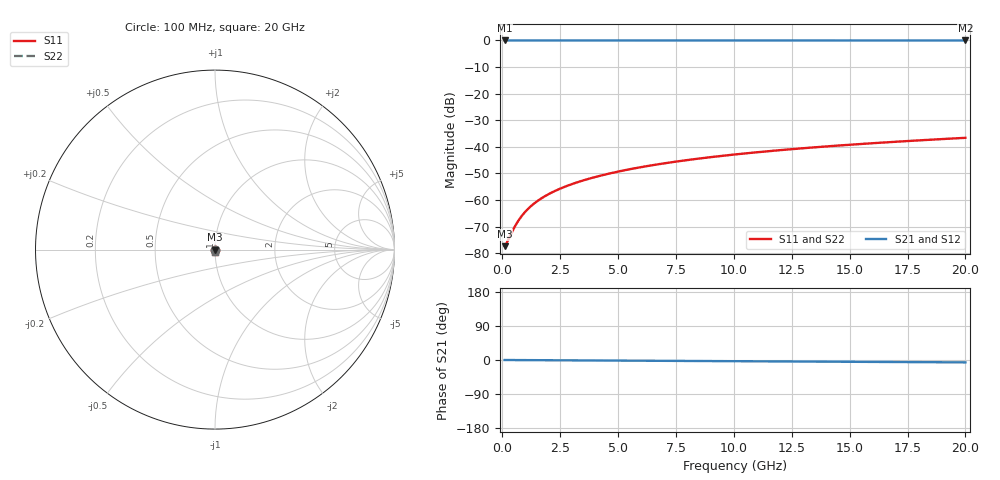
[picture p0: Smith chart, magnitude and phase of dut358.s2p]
! Touchstone file exported from HFSS 2026.1.0
!  File:  C:/ffzhzh/LocalFiles/Ansys_Project_Files/temp_train_TSV_358_1783019257_46388.aedt
!  Generated:  03:09:11 AM Jul  3, 2026
!  Design:  TSV
!  Project:  temp_train_TSV_358_1783019257_46388
! Variables:
!  h_bsmrdl = 2um
!  h_ox = 20um
!  h_rdl = 5um
!  h_sub = 63.3um
!  h_tmrdl = 5um
!  h_tsv = 63.3um
!  h_via = 3um
!  l_bsmrdl = 300um
!  l_sub = 417.84um
!  l_tmrdl = 200um
!  m_sub = 200um
!  pitch = 31.47um
!  r_tsv = 8.92um
!  s_tmrdl = 10um
!  w_bsmrdl = 18um
!  w_sub = 500um
!  w_tmrdl = 12um
!  x_tsv_center1 = 206um
!  x_tsv_center2 = 524um
!  x_tsv_center3 = 736um
!  x_tsv_center4 = 1054um
!  x_tsv_center5 = 1266um
!  x_tsv_center6 = 1584um
# GHz S MA R 50.000000
! Terminal data exported
! Port[1] = TSV1_1_T1
! Port[2] = TSV1_1_T2
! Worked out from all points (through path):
!   200 points, 100 MHz to 20 GHz, reference 50 ohm
!   highest |S21| = 0.00 dB at 100 MHz (marker M1); lowest = 0.0 dB at 20 GHz (marker M2)
!   lowest |S11| = -77.3 dB at 100 MHz (marker M3), VSWR 1.00, Z = 50 - j0.00328 ohm
!   |S11| at or under -10 dB: start of sweep to end of sweep
!   |S22| runs from -77.3 to -36.6 dB; largest |S21 - S12| = 3.2e-15
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0.1  0.0001357 -14.0  0.9999 -0.0  0.9999 -0.0  0.0001357 -14.0
! Gamma 0 0 0 0
! Port Impedance 50 0 50 0
0.2  0.0001593 -25.6  0.9999 -0.1  0.9999 -0.1  0.0001593 -25.6
0.5  0.0002934 -45.7  0.9998 -0.2  0.9998 -0.2  0.0002934 -45.7
0.7  0.0004122 -53.2  0.9998 -0.2  0.9998 -0.2  0.0004122 -53.2
0.8  0.0004758 -56.1  0.9997 -0.3  0.9997 -0.3  0.0004758 -56.1
1  0.0006074 -60.8  0.9997 -0.3  0.9997 -0.3  0.0006074 -60.8
1.3  0.0008102 -65.8  0.9997 -0.4  0.9997 -0.4  0.0008102 -65.8
1.5  0.0009468 -68.3  0.9996 -0.5  0.9996 -0.5  0.0009468 -68.3
1.7  0.001084 -70.3  0.9996 -0.5  0.9996 -0.5  0.001084 -70.3
2.2  0.001429 -73.8  0.9996 -0.7  0.9996 -0.7  0.001429 -73.8
2.8  0.001847 -76.5  0.9995 -0.9  0.9995 -0.9  0.001847 -76.5
3.5  0.002342 -78.6  0.9995 -1.1  0.9995 -1.1  0.002342 -78.6
4.2  0.002843 -80.1  0.9994 -1.3  0.9994 -1.3  0.002843 -80.1
5  0.003424 -81.3  0.9994 -1.6  0.9994 -1.6  0.003424 -81.3
5.9  0.004085 -82.5  0.9993 -1.9  0.9993 -1.9  0.004085 -82.5
6.8  0.004753 -83.5  0.9993 -2.2  0.9993 -2.2  0.004753 -83.5
8.3  0.005875 -84.9  0.9992 -2.6  0.9992 -2.6  0.005875 -84.9
10.1  0.007231 -86.2  0.9991 -3.2  0.9991 -3.2  0.007231 -86.2
11.7  0.008441 -87.3  0.999 -3.7  0.999 -3.7  0.008441 -87.3
13.4  0.00973 -88.3  0.999 -4.2  0.999 -4.2  0.00973 -88.3
16.7  0.01224 -90.0  0.9988 -5.3  0.9988 -5.3  0.01224 -90.0
20  0.01477 -91.5  0.9986 -6.3  0.9986 -6.3  0.01477 -91.5
